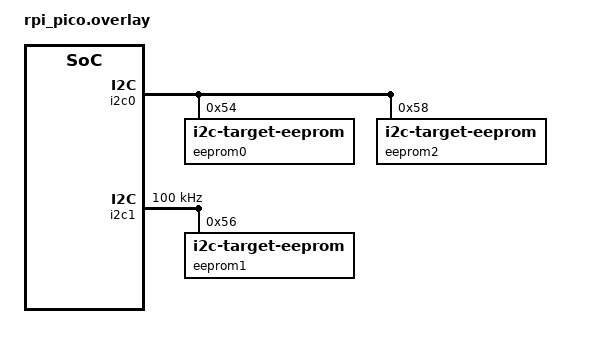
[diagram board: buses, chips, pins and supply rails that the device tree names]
/*
 * Copyright (c) 2022 Andrei-Edward Popa
 *
 * SPDX-License-Identifier: Apache-2.0
 */

 /*
  * Short Pin P4 to PA14, and P5 to P15, for the test to pass.
  */

&pinctrl {
	i2c1_default: i2c1_default {
		group1 {
			pinmux = <I2C1_SDA_P14>, <I2C1_SCL_P15>;
			input-enable;
			input-schmitt-enable;
		};
	};
};

&i2c0 {
	eeprom0: eeprom@54 {
		compatible = "zephyr,i2c-target-eeprom";
		reg = <0x54>;
		size = <256>;
	};
	eeprom2: eeprom@58 {
		compatible = "zephyr,i2c-target-eeprom";
		reg = <0x58>;
		size = <4096>;
		address-width = <16>;
		read-only;
	};
};

&i2c1 {
	clock-frequency = <I2C_BITRATE_STANDARD>;
	status = "okay";
	pinctrl-0 = <&i2c1_default>;
	pinctrl-names = "default";
	eeprom1: eeprom@56 {
		compatible = "zephyr,i2c-target-eeprom";
		reg = <0x56>;
		size = <256>;
	};
};
